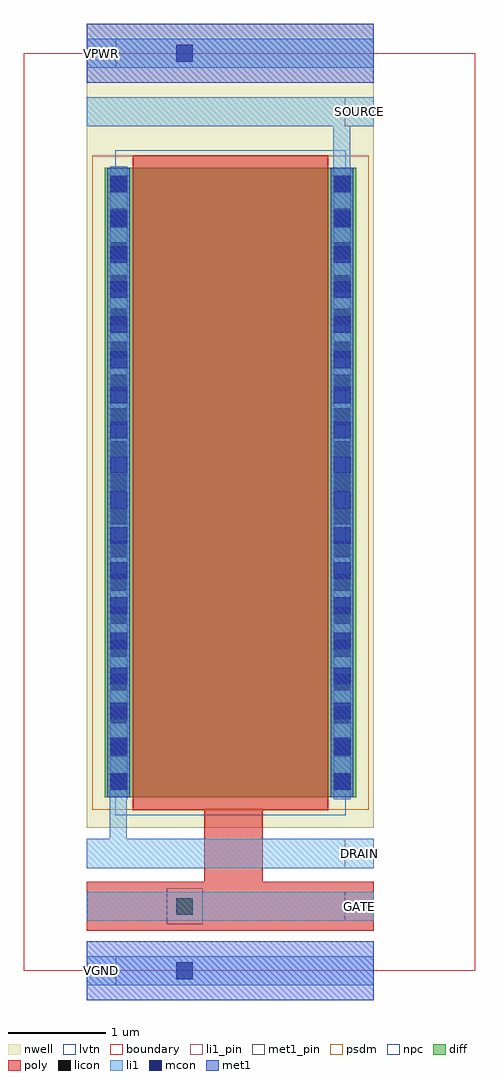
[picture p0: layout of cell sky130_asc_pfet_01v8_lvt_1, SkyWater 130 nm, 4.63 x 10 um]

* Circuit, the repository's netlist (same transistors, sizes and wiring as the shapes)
* NGSPICE file created from sky130_asc_pfet_01v8_lvt_1.ext - technology: sky130A

.subckt sky130_asc_pfet_01v8_lvt_1 GATE SOURCE DRAIN VGND VPWR
X0 SOURCE GATE DRAIN VPWR sky130_fd_pr__pfet_01v8_lvt ad=1.8705e+12p pd=1.348e+07u as=1.8705e+12p ps=1.348e+07u w=6.45e+06u l=2e+06u
.ends

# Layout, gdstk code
import gdstk
lib = gdstk.Library(unit=1e-6, precision=1e-09)
def R(c, l, rs):  # rectangles x0, y0, x1, y1
    for r in rs: c.add(gdstk.rectangle(r[:2], r[2:], *l))
def A(c, l, x, y, w, h, nx, ny, dx, dy):  # array of equal rectangles
    R(c, l, [(x+i*dx, y+j*dy, x+i*dx+w, y+j*dy+h) for i in range(nx) for j in range(ny)])
nwell = (64, 20)
diff = (65, 20)
poly = (66, 20)
licon = (66, 44)
li1_pin = (67, 16)
li1 = (67, 20)
mcon = (67, 44)
met1_pin = (68, 16)
met1 = (68, 20)
psdm = (94, 20)
npc = (95, 20)
lvtn = (125, 44)
boundary = (235, 4)

sky130_asc_pfet_01v8_lvt = lib.new_cell('sky130_asc_pfet_01v8_lvt_1')
R(sky130_asc_pfet_01v8_lvt, nwell, [(0.65,1.465,3.59,9.7)])
R(sky130_asc_pfet_01v8_lvt, diff, [(0.83,1.775,3.41,8.225)])
R(sky130_asc_pfet_01v8_lvt, poly, [(0.65,0.41,3.59,0.91), (1.85,0.91,2.45,1.645), (1.12,1.645,3.12,8.355)])
A(sky130_asc_pfet_01v8_lvt, licon, 0.89, 1.855, 0.17, 0.17, 1, 19, 0, 0.34)
A(sky130_asc_pfet_01v8_lvt, licon, 3.18, 1.855, 0.17, 0.17, 1, 19, 0, 0.34)
R(sky130_asc_pfet_01v8_lvt, licon, [(1.565,0.575,1.735,0.745)])
R(sky130_asc_pfet_01v8_lvt, li1_pin, [(3.29,0.51,3.59,0.81), (3.29,1.05,3.59,1.35), (3.29,8.65,3.59,8.95)])
R(sky130_asc_pfet_01v8_lvt, li1, [(0.65,-0.15,3.59,0.15), (0.65,0.51,3.59,0.81), (0.65,1.05,3.59,1.35), (0.885,1.35,1.055,1.755), (0.885,1.755,1.06,1.86), (3.18,1.755,3.35,8.13), (0.89,1.86,1.06,8.245), (3.175,8.13,3.35,8.245), (3.175,8.245,3.345,8.65), (0.65,8.65,3.59,8.95), (0.65,9.25,3.59,9.55)])
A(sky130_asc_pfet_01v8_lvt, mcon, 0.89, 1.855, 0.17, 0.17, 1, 18, 0, 0.36)
A(sky130_asc_pfet_01v8_lvt, mcon, 3.18, 1.855, 0.17, 0.17, 1, 18, 0, 0.36)
R(sky130_asc_pfet_01v8_lvt, mcon, [(1.565,-0.085,1.735,0.085), (1.565,9.315,1.735,9.485)])
R(sky130_asc_pfet_01v8_lvt, met1_pin, [(0.65,-0.15,0.95,0.15), (0.65,9.25,0.95,9.55)])
R(sky130_asc_pfet_01v8_lvt, met1, [(0.65,-0.3,3.59,0.3), (0.86,1.775,1.09,8.225), (3.15,1.775,3.38,8.225), (0.65,9.1,3.59,9.7)])
R(sky130_asc_pfet_01v8_lvt, psdm, [(0.705,1.65,3.535,8.35)])
R(sky130_asc_pfet_01v8_lvt, npc, [(1.465,0.475,1.835,0.845)])
R(sky130_asc_pfet_01v8_lvt, lvtn, [(0.94,1.595,3.3,8.405)])
R(sky130_asc_pfet_01v8_lvt, boundary, [(0,0,4.63,9.4)])
sky130_asc_pfet_01v8_lvt.add(gdstk.Label('GATE', (3.44,0.66), layer=67, texttype=16))
sky130_asc_pfet_01v8_lvt.add(gdstk.Label('SOURCE', (3.44,8.8), layer=67, texttype=16))
sky130_asc_pfet_01v8_lvt.add(gdstk.Label('DRAIN', (3.44,1.2), layer=67, texttype=16))
sky130_asc_pfet_01v8_lvt.add(gdstk.Label('VPWR', (0.8,9.4), layer=68, texttype=16))
sky130_asc_pfet_01v8_lvt.add(gdstk.Label('VGND', (0.8,0), layer=68, texttype=16))

lib.write_gds('sky130_asc_pfet_01v8_lvt_1.gds')
